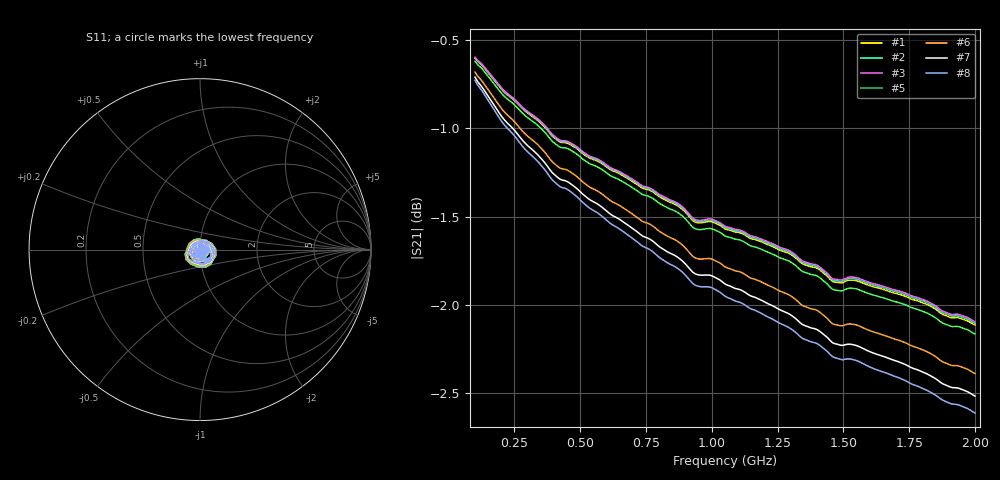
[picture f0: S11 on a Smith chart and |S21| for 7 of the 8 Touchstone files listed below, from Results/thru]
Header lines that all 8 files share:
!Keysight Technologies,N5242B,MY48420967,A.15.65.19
!Correction: S11(C  2-Port  )
!S21(C  2-Port  )
!S12(C  2-Port  )
!S22(C  2-Port  )
!S2P File: Measurements: S11, S21, S12, S22:
# Hz S  dB  R 50
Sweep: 100 MHz to 2 GHz
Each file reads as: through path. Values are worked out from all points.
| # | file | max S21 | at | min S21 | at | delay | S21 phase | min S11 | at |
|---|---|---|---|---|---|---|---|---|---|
| 1 | S-ParamMeas20k_thru.s2p | -0.61 dB | 100 MHz | -2.1 dB | 2 GHz | 7.76 ns | -56 deg at 1.05 GHz | -46.6 dB | 679.5 MHz |
| 2 | S-ParamMeas25k_thru.s2p | -0.60 dB | 100 MHz | -2.1 dB | 2 GHz | 7.76 ns | -56 deg at 1.05 GHz | -46.6 dB | 679.5 MHz |
| 3 | S-ParamMeas30k_thru.s2p | -0.60 dB | 100 MHz | -2.1 dB | 2 GHz | 7.76 ns | -56 deg at 1.05 GHz | -46.7 dB | 679.5 MHz |
| 4 | S-ParamMeas77k_thru.s2p | -0.61 dB | 100 MHz | -2.1 dB | 2 GHz | 7.76 ns | -56 deg at 1.05 GHz | -46.6 dB | 679.5 MHz |
| 5 | S-ParamMeas100k_thru.s2p | -0.62 dB | 100 MHz | -2.2 dB | 2 GHz | 7.76 ns | -56 deg at 1.05 GHz | -46.5 dB | 679.5 MHz |
| 6 | S-ParamMeas200k_thru.s2p | -0.68 dB | 100 MHz | -2.4 dB | 2 GHz | 7.75 ns | -55 deg at 1.05 GHz | -47.0 dB | 1.819 GHz |
| 7 | S-ParamMeas250k_thru.s2p | -0.71 dB | 100 MHz | -2.5 dB | 2 GHz | 7.75 ns | -54 deg at 1.05 GHz | -50.2 dB | 1.819 GHz |
| 8 | S-ParamMeas290k_thru.s2p | -0.73 dB | 100 MHz | -2.6 dB | 2 GHz | 7.74 ns | -53 deg at 1.05 GHz | -52.6 dB | 1.819 GHz |
